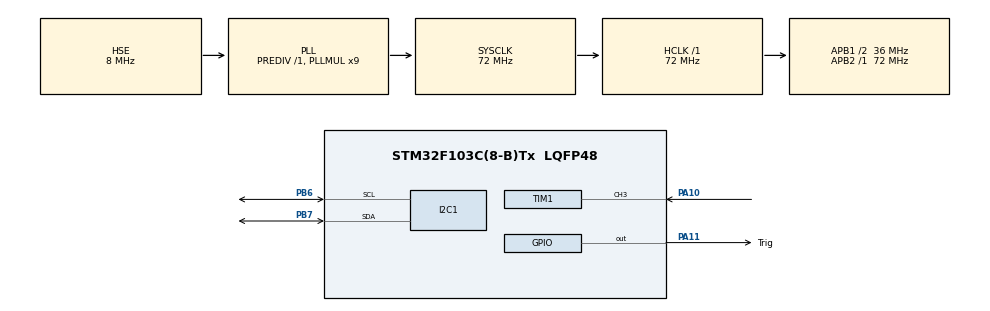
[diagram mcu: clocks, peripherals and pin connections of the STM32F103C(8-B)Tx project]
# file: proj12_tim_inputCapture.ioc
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Mcu.Family=STM32F1
Mcu.Name=STM32F103C(8-B)Tx
Mcu.Package=LQFP48
NVIC.PriorityGroup=NVIC_PRIORITYGROUP_4
NVIC.TIM1_CC_IRQn=true\:0\:0\:false\:false\:true\:true\:true\:true
PA10.Signal=S_TIM1_CH3
PA11.GPIO_Label=Trig
PA11.Signal=GPIO_Output
PA13.Mode=Serial_Wire
PA13.Signal=SYS_JTMS-SWDIO
PA14.Mode=Serial_Wire
PA14.Signal=SYS_JTCK-SWCLK
PB6.Mode=I2C
PB6.Signal=I2C1_SCL
PB7.Mode=I2C
PB7.Signal=I2C1_SDA
PD0-OSC_IN.Mode=HSE-External-Oscillator
PD0-OSC_IN.Signal=RCC_OSC_IN
PD1-OSC_OUT.Mode=HSE-External-Oscillator
PD1-OSC_OUT.Signal=RCC_OSC_OUT
ProjectManager.HeapSize=0x200
ProjectManager.StackSize=0x400
ProjectManager.TargetToolchain=STM32CubeIDE
RCC.AHBFreq_Value=72000000
RCC.APB1CLKDivider=RCC_HCLK_DIV2
RCC.APB1Freq_Value=36000000
RCC.APB1TimFreq_Value=72000000
RCC.APB2Freq_Value=72000000
RCC.APB2TimFreq_Value=72000000
RCC.HCLKFreq_Value=72000000
RCC.PLLMUL=RCC_PLL_MUL9
RCC.PLLSourceVirtual=RCC_PLLSOURCE_HSE
RCC.SYSCLKFreq_VALUE=72000000
RCC.SYSCLKSource=RCC_SYSCLKSOURCE_PLLCLK
RCC.USBFreq_Value=72000000
SH.S_TIM1_CH3.0=TIM1_CH3,Input_Capture3_from_TI3
TIM1.Channel-Input_Capture3_from_TI3=TIM_CHANNEL_3
TIM1.Channel-Input_Capture4_from_TI3_63=TIM_CHANNEL_4
TIM1.ICPolarity_CH4=TIM_INPUTCHANNELPOLARITY_FALLING
TIM1.Prescaler=72-1
VP_TIM1_VS_ClockSourceINT.Mode=Internal
VP_TIM1_VS_indirect_ch3.Mode=Input_Capture4_from_TI3_63
board=custom

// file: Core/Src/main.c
/* USER CODE BEGIN Header */
/**
  ******************************************************************************
  * @file           : main.c
  * @brief          : Main program body
  ******************************************************************************
  * @attention
  *
  * Copyright (c) 2024 STMicroelectronics.
  * All rights reserved.
  *
  * This software is licensed under terms that can be found in the LICENSE file
  * in the root directory of this software component.
  * If no LICENSE file comes with this software, it is provided AS-IS.
  *
  ******************************************************************************
  */
/* USER CODE END Header */
#include "main.h"
#include "i2c.h"
#include "tim.h"
#include "gpio.h"

/* USER CODE BEGIN Includes */
#include "stdio.h"
#include <oled.h>
/* USER CODE END Includes */

void SystemClock_Config(void);

/* USER CODE BEGIN 0 */
int upEdge = 0;
int downEdge = 0;
float distance = 0;
void HAL_TIM_IC_CaptureCallback(TIM_HandleTypeDef *htim){
	if(htim == &htim1 && htim->Channel == HAL_TIM_ACTIVE_CHANNEL_4){
		upEdge = HAL_TIM_ReadCapturedValue(htim, TIM_CHANNEL_3);
		downEdge = HAL_TIM_ReadCapturedValue(htim,TIM_CHANNEL_4);
		distance = ((downEdge - upEdge) * 0.034) / 2;
	}
}
/* USER CODE END 0 */

int main(void)
{

  /* MCU Configuration--------------------------------------------------------*/

  /* Reset of all peripherals, Initializes the Flash interface and the Systick. */
  HAL_Init();

  /* Configure the system clock */
  SystemClock_Config();

  /* Initialize all configured peripherals */
  MX_GPIO_Init();
  MX_I2C1_Init();
  MX_TIM1_Init();
  /* USER CODE BEGIN 2 */
  HAL_Delay(20);
  OLED_Init();

  HAL_TIM_Base_Start(&htim1);
  HAL_TIM_IC_Start(&htim1, TIM_CHANNEL_3);
  HAL_TIM_IC_Start_IT(&htim1, TIM_CHANNEL_4);

  char message[20] = "";
  /* USER CODE END 2 */

  /* Infinite loop */
  /* USER CODE BEGIN WHILE */
  while (1)
  {
	  HAL_GPIO_WritePin(Trig_GPIO_Port, Trig_Pin, GPIO_PIN_SET);
	  HAL_Delay(1);
	  HAL_GPIO_WritePin(Trig_GPIO_Port, Trig_Pin, GPIO_PIN_RESET);
	  __HAL_TIM_SET_COUNTER(&htim1, 0);
	  HAL_Delay(20);

	  OLED_NewFrame();
	  sprintf(message,"距離: %.2fcm",distance);
	  OLED_PrintString(0, 0, (uint8_t*)message, &font16x16, OLED_COLOR_NORMAL);
	  OLED_ShowFrame();

	  HAL_Delay(500);
    /* USER CODE END WHILE */

  }
}

void SystemClock_Config(void)
{
  RCC_OscInitTypeDef RCC_OscInitStruct = {0};
  RCC_ClkInitTypeDef RCC_ClkInitStruct = {0};

  /** Initializes the RCC Oscillators according to the specified parameters
  * in the RCC_OscInitTypeDef structure.
  */
  RCC_OscInitStruct.OscillatorType = RCC_OSCILLATORTYPE_HSE;
  RCC_OscInitStruct.HSEState = RCC_HSE_ON;
  RCC_OscInitStruct.HSEPredivValue = RCC_HSE_PREDIV_DIV1;
  RCC_OscInitStruct.HSIState = RCC_HSI_ON;
  RCC_OscInitStruct.PLL.PLLState = RCC_PLL_ON;
  RCC_OscInitStruct.PLL.PLLSource = RCC_PLLSOURCE_HSE;
  RCC_OscInitStruct.PLL.PLLMUL = RCC_PLL_MUL9;
  if (HAL_RCC_OscConfig(&RCC_OscInitStruct) != HAL_OK)
  {
    Error_Handler();
  }

  /** Initializes the CPU, AHB and APB buses clocks
  */
  RCC_ClkInitStruct.ClockType = RCC_CLOCKTYPE_HCLK|RCC_CLOCKTYPE_SYSCLK
                              |RCC_CLOCKTYPE_PCLK1|RCC_CLOCKTYPE_PCLK2;
  RCC_ClkInitStruct.SYSCLKSource = RCC_SYSCLKSOURCE_PLLCLK;
  RCC_ClkInitStruct.AHBCLKDivider = RCC_SYSCLK_DIV1;
  RCC_ClkInitStruct.APB1CLKDivider = RCC_HCLK_DIV2;
  RCC_ClkInitStruct.APB2CLKDivider = RCC_HCLK_DIV1;

  if (HAL_RCC_ClockConfig(&RCC_ClkInitStruct, FLASH_LATENCY_2) != HAL_OK)
  {
    Error_Handler();
  }
}

void Error_Handler(void)
{
  __disable_irq();
  while (1)
  {
  }
}
